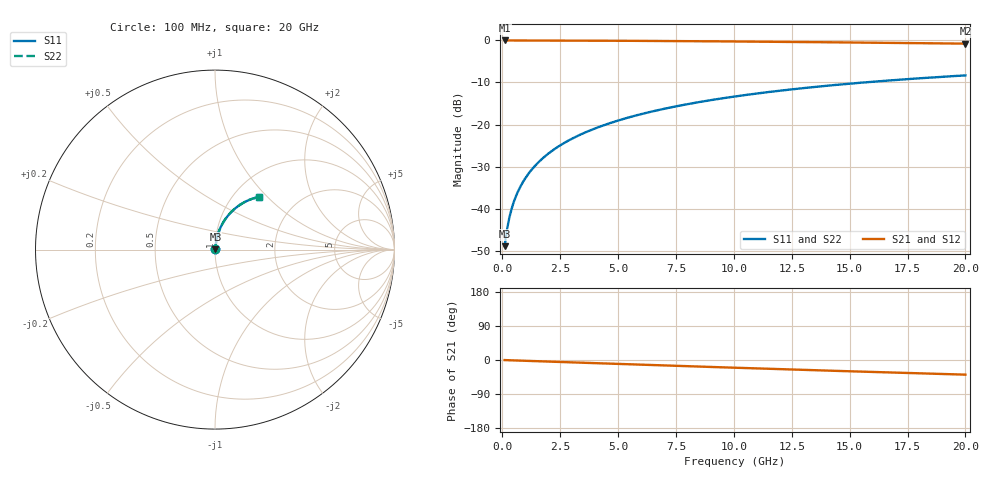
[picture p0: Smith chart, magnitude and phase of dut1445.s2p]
! Touchstone file exported from HFSS 2026.1.0
!  File:  C:/ffzhzh/LocalFiles/Ansys_Project_Files/temp_train_BSMRDL_1445_1783180625_55132.aedt
!  Generated:  11:58:21 PM Jul  4, 2026
!  Design:  BSMRDL
!  Project:  temp_train_BSMRDL_1445_1783180625_55132
! Variables:
!  h_bsmrdl = 3.11um
!  h_ox = 20um
!  h_rdl = 5um
!  h_sub = 80um
!  h_tmrdl = 5um
!  h_tsv = 80um
!  h_via = 3um
!  l_bsmrdl = 524.07um
!  l_sub = 924.07um
!  l_tmrdl = 200um
!  m_sub = 200um
!  pitch = 58.76um
!  r_tsv = 6um
!  s_tmrdl = 10um
!  w_bsmrdl = 25.07um
!  w_sub = 500um
!  w_tmrdl = 12um
!  x_tsv_center1 = 206um
!  x_tsv_center2 = 755.14um
!  x_tsv_center3 = 967.14um
!  x_tsv_center4 = 1516.28um
!  x_tsv_center5 = 1728.28um
!  x_tsv_center6 = 2277.42um
# GHz S MA R 50.000000
! Terminal data exported
! Port[1] = BSM_RDL1_1_T1
! Port[2] = BSM_RDL1_1_T2
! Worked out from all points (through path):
!   200 points, 100 MHz to 20 GHz, reference 50 ohm
!   highest |S21| = -0.02 dB at 100 MHz (marker M1); lowest = -0.8 dB at 20 GHz (marker M2)
!   group delay of S21, straight-line fit = 5.38 ps
!   lowest |S11| = -48.9 dB at 100 MHz (marker M3), VSWR 1.01, Z = 50.3 + j0.247 ohm
!   |S11| at or under -10 dB: start of sweep to 15.61 GHz
!   |S22| runs from -48.9 to -8.3 dB; largest |S21 - S12| = 2.6e-15
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0.1  0.003601 42.9  0.9974 -0.2  0.9974 -0.2  0.003601 42.9
! Gamma 0 0 0 0
! Port Impedance 50 0 50 0
0.2  0.005591 60.2  0.9972 -0.4  0.9972 -0.4  0.005591 60.2
0.3  0.007763 67.6  0.9971 -0.6  0.9971 -0.6  0.007763 67.6
0.4  0.00996 71.6  0.997 -0.9  0.997 -0.9  0.00996 71.6
0.5  0.01216 74.1  0.9968 -1.1  0.9968 -1.1  0.01216 74.1
0.6  0.01435 75.9  0.9967 -1.3  0.9967 -1.3  0.01435 75.9
0.8  0.01876 78.2  0.9965 -1.7  0.9965 -1.7  0.01876 78.2
1.1  0.02541 80.0  0.9963 -2.3  0.9963 -2.3  0.02541 80.0
1.5  0.03433 81.0  0.9959 -3.1  0.9959 -3.1  0.03433 81.0
1.8  0.04103 81.2  0.9956 -3.8  0.9956 -3.8  0.04103 81.2
2.1  0.04773 81.2  0.9952 -4.4  0.9952 -4.4  0.04773 81.2
2.7  0.06112 80.8  0.9943 -5.6  0.9943 -5.6  0.06112 80.8
3.5  0.07886 79.8  0.9928 -7.3  0.9928 -7.3  0.07886 79.8
4.2  0.09426 78.7  0.9912 -8.7  0.9912 -8.7  0.09426 78.7
5  0.1117 77.3  0.9891 -10.3  0.9891 -10.3  0.1117 77.3
5.9  0.131 75.6  0.9864 -12.2  0.9864 -12.2  0.131 75.6
6.8  0.15 74.0  0.9833 -14.0  0.9833 -14.0  0.15 74.0
8.3  0.1809 71.1  0.9775 -17.0  0.9775 -17.0  0.181 71.1
10.1  0.2167 67.7  0.9695 -20.5  0.9695 -20.5  0.2167 67.7
13.4  0.2782 61.6  0.9528 -26.8  0.9528 -26.8  0.2782 61.6
16.7  0.3339 55.7  0.9341 -32.8  0.9341 -32.8  0.3339 55.7
20  0.3836 50.0  0.9145 -38.7  0.9145 -38.7  0.3837 50.0
